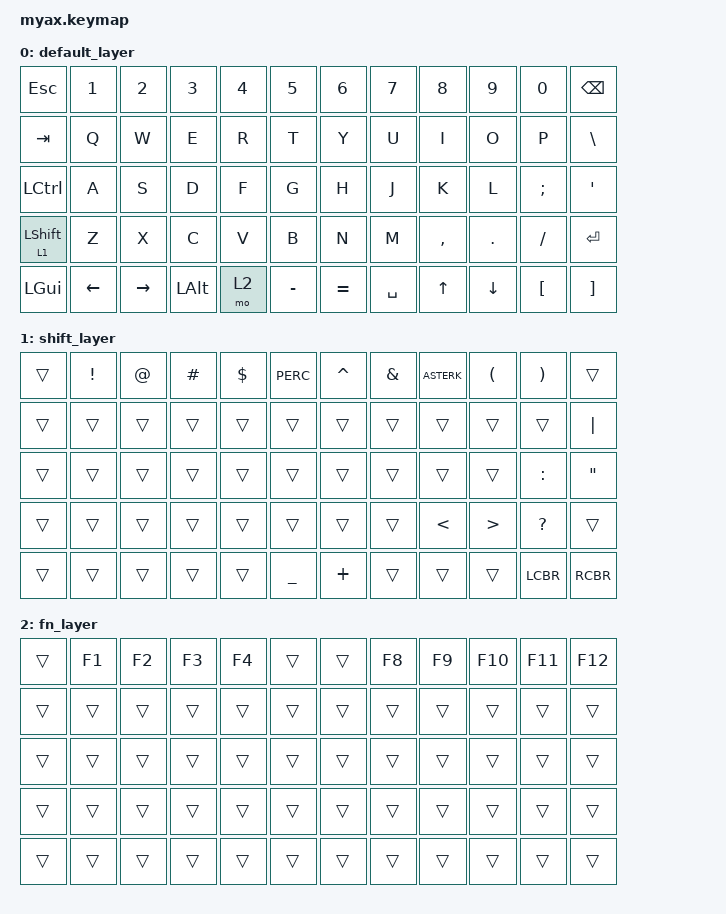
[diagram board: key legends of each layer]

#include <behaviors.dtsi>
#include <dt-bindings/zmk/keys.h>
#include <dt-bindings/zmk/bt.h>

/ {
        keymap {
                compatible = "zmk,keymap";

        default_layer {
            bindings = <
                /* Row 1 */ &kp ESC     &kp N1      &kp N2     &kp N3     &kp N4     &kp N5     &kp N6     &kp N7     &kp N8     &kp N9     &kp N0      &kp BSPC
                /* Row 2 */ &kp TAB     &kp Q       &kp W      &kp E      &kp R      &kp T      &kp Y      &kp U      &kp I      &kp O      &kp P       &kp BSLH
                /* Row 3 */ &kp LCTRL   &kp A       &kp S      &kp D      &kp F      &kp G      &kp H      &kp J      &kp K      &kp L      &kp SCLN    &kp SQT
                /* Row 4 */ &lt 1 LSHFT  &kp Z       &kp X      &kp C      &kp V      &kp B      &kp N      &kp M      &kp COMMA  &kp DOT    &kp SLASH   &kp ENTER
                /* Row 5 */ &kp LGUI    &kp LEFT    &kp RIGHT  &kp LALT   &mo 2      &kp MINUS  &kp EQUAL  &kp SPACE  &kp UP     &kp DOWN   &kp LBKT    &kp RBKT
            >;
        };

        shift_layer {
            bindings = <
                /* Row 1 */ &trans      &kp EXCL    &kp AT     &kp HASH   &kp DLLR   &kp PERC   &kp CARET  &kp AMPS   &kp ASTERK &kp LPAR   &kp RPAR    &trans
                /* Row 2 */ &trans      &trans      &trans     &trans     &trans     &trans     &trans     &trans     &trans     &trans     &trans      &kp PIPE
                /* Row 3 */ &trans      &trans      &trans     &trans     &trans     &trans     &trans     &trans     &trans     &trans     &kp COLON   &kp DQT
                /* Row 4 */ &trans      &trans      &trans     &trans     &trans     &trans     &trans     &trans     &kp LT     &kp GT     &kp QMARK   &trans
                /* Row 5 */ &trans      &trans      &trans     &trans     &trans     &kp UNDERSCORE &kp PLUS &trans     &trans     &trans     &kp LCBR    &kp RCBR
            >;
        };

        fn_layer {
            bindings = <
                /* Row 1 */ &trans      &kp F1      &kp F2     &kp F3     &kp F4     &trans     &trans     &kp F8     &kp F9     &kp F10    &kp F11     &kp F12
                /* Row 2 */ &trans      &trans      &trans     &trans     &trans     &trans     &trans     &trans     &trans     &trans     &trans      &trans
                /* Row 3 */ &trans      &trans      &trans     &trans     &trans     &trans     &trans     &trans     &trans     &trans     &trans      &trans
                /* Row 4 */ &trans      &trans      &trans     &trans     &trans     &trans     &trans     &trans     &trans     &trans     &trans      &trans
                /* Row 5 */ &trans      &trans      &trans     &trans     &trans     &trans     &trans     &trans     &trans     &trans     &trans      &trans
            >;
        };
    };
};
